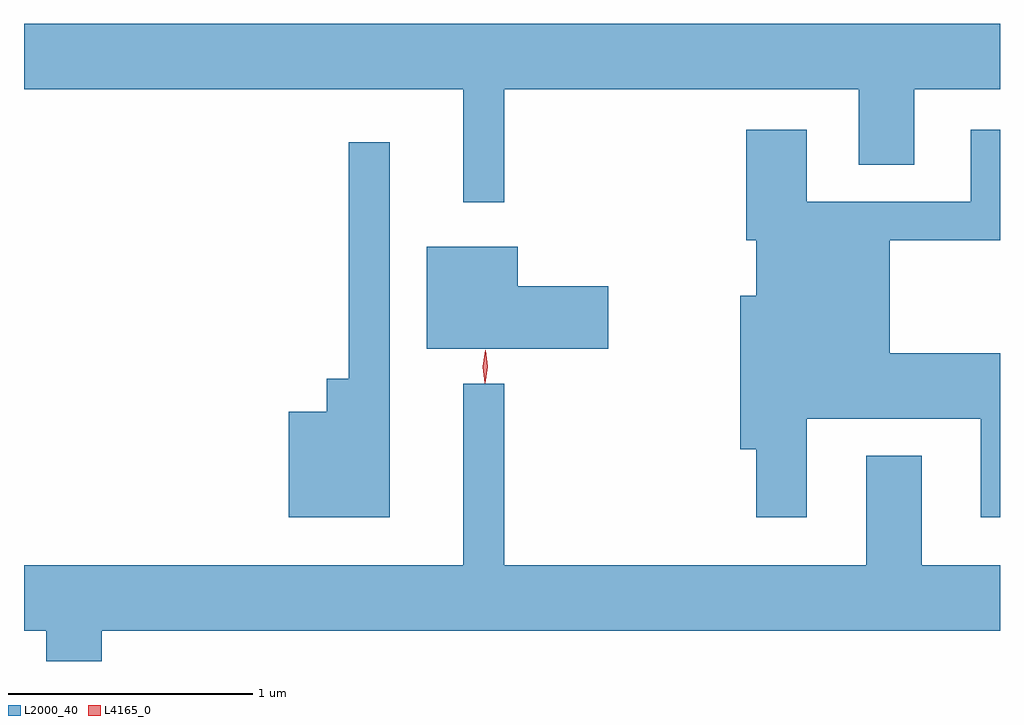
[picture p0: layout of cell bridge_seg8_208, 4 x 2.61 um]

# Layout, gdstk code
import gdstk
lib = gdstk.Library(unit=1e-6, precision=1e-09)
def P(c, l, *ps):  # polygons
    for p in ps: c.add(gdstk.Polygon(p, *l))
L2000_40 = (2000, 40)
L4165_0 = (4165, 0)

bridge_seg8_208 = lib.new_cell('bridge_seg8_208')
P(bridge_seg8_208, L2000_40, [(1221.469,1898.576),(1222.921,1898.576),(1222.921,1898.266),(1223.149,1898.266),(1223.149,1898.576),(1223.5,1898.576),(1223.5,1898.844),(1219.5,1898.844),(1219.5,1898.576),(1221.301,1898.576),(1221.301,1898.113),(1221.469,1898.113)],
  [(1222.709,1897.226),(1223.421,1897.226),(1223.421,1896.821),(1223.5,1896.821),(1223.5,1897.494),(1223.049,1897.494),(1223.049,1897.956),(1223.5,1897.956),(1223.5,1898.409),(1223.381,1898.409),(1223.381,1898.114),(1222.709,1898.114),(1222.709,1898.409),(1222.461,1898.409),(1222.461,1897.956),(1222.501,1897.956),(1222.501,1897.729),(1222.436,1897.729),(1222.436,1897.101),(1222.501,1897.101),(1222.501,1896.821),(1222.709,1896.821)],
  [(1220.999,1898.358),(1220.831,1898.358),(1220.831,1897.389),(1220.741,1897.389),(1220.741,1897.254),(1220.586,1897.254),(1220.586,1896.821),(1220.999,1896.821)],
  [(1221.894,1897.769),(1221.524,1897.769),(1221.524,1897.929),(1221.151,1897.929),(1221.151,1897.511),(1221.894,1897.511)],
  [(1219.819,1896.356),(1223.5,1896.356),(1223.5,1896.624),(1223.179,1896.624),(1223.179,1897.074),(1222.951,1897.074),(1222.951,1896.624),(1221.469,1896.624),(1221.469,1897.368),(1221.301,1897.368),(1221.301,1896.624),(1219.5,1896.624),(1219.5,1896.356),(1219.591,1896.356),(1219.591,1896.231),(1219.819,1896.231)])
P(bridge_seg8_208, L4165_0, [(1221.389,1897.373),(1221.389,1897.374),(1221.38,1897.436),(1221.391,1897.499),(1221.391,1897.5),(1221.392,1897.499),(1221.4,1897.436),(1221.39,1897.374)],
  [(1221.389,1897.37),(1221.38,1897.438),(1221.391,1897.505),(1221.391,1897.506),(1221.392,1897.505),(1221.4,1897.438),(1221.39,1897.37),(1221.39,1897.37)])

lib.write_gds('bridge_seg8_208.gds')
